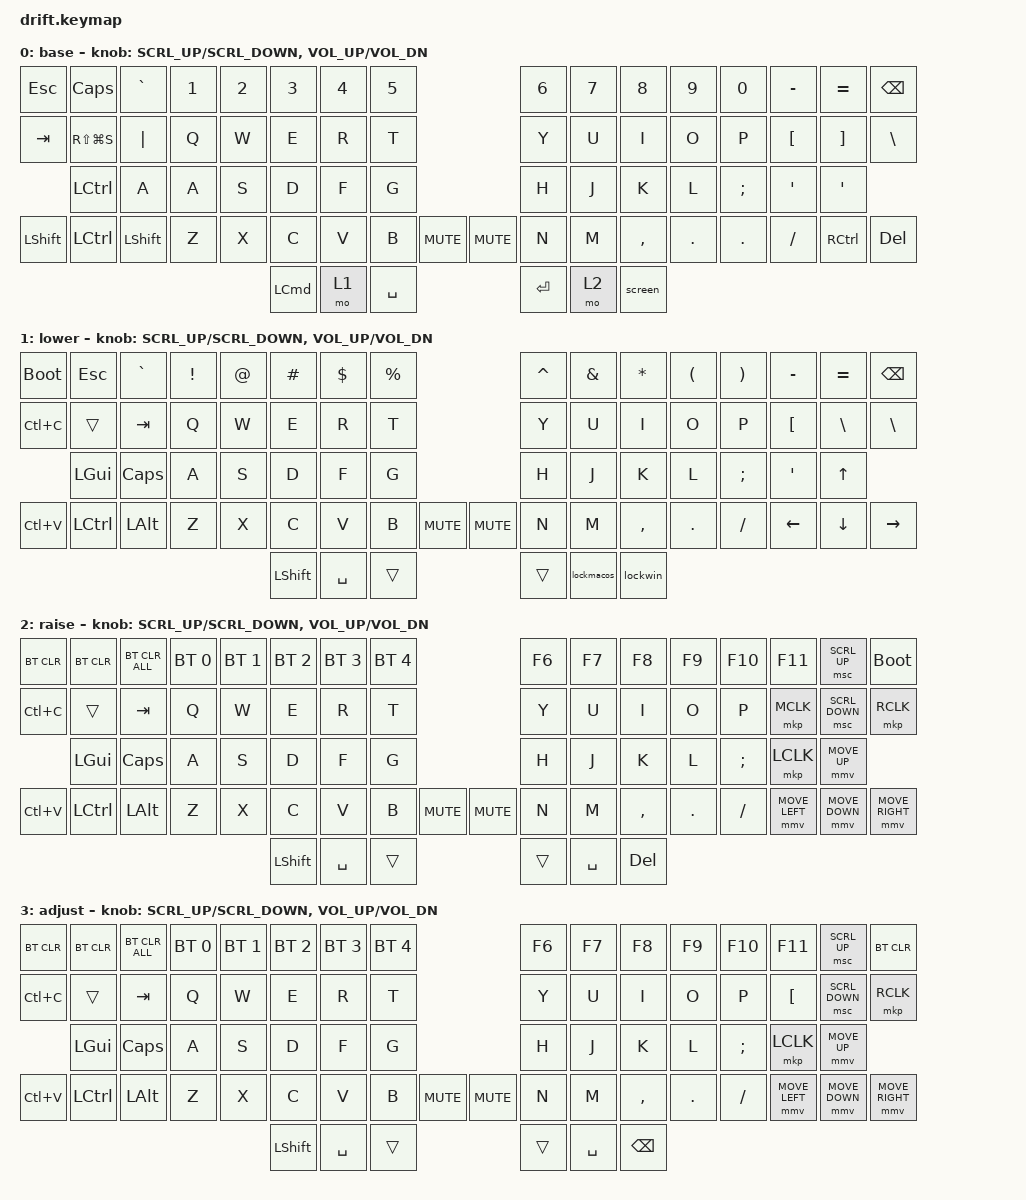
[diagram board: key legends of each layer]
// Copyright (c) 2025 Timception
// SPDX-License-Identifier: MIT

#define ZMK_POINTING_DEFAULT_MOVE_VAL 1500  // default: 600
#define ZMK_POINTING_DEFAULT_SCRL_VAL 120    // default: 10 - for encoder mouse-scroll to work

#include <dt-bindings/zmk/mouse.h>
#include <behaviors.dtsi>
#include <dt-bindings/zmk/bt.h>
#include <dt-bindings/zmk/keys.h>
#include <dt-bindings/zmk/pointing.h>

#define BASE 0
#define LOWER 1
#define RAISE 2
#define ADJUST 3

/ {
    conditional_layers {
        compatible = "zmk,conditional-layers";

        tri_layer {
            if-layers = <LOWER RAISE>;
            then-layer = <ADJUST>;
        };
    };

    behaviors {
        enc_scroll: enc_scroll {
            compatible = "zmk,behavior-sensor-rotate-var";
            #sensor-binding-cells = <2>;
            bindings = <&msc>, <&msc>;

            tap-ms = <20>;
        };
    };

    macros {
        lockwin: lockwin {
            compatible = "zmk,behavior-macro";
            #binding-cells = <0>;
            bindings = <&kp LG(L)>;
            label = "LOCKWIN";
        };

        lockmacos: lockmacos {
            compatible = "zmk,behavior-macro";
            #binding-cells = <0>;
            bindings = <&kt LC(LEFT_COMMAND) &kt Q &sys_reset>;
            label = "LOCKMACOS";
        };

        screen: screen {
            compatible = "zmk,behavior-macro";
            #binding-cells = <0>;
            bindings = <&kp PRINTSCREEN>;
            label = "SCREEN";
        };
    };

    keymap {
        compatible = "zmk,keymap";

        default_layer {
            display-name = "base";

            // ------------------------------------------------------------------------------------------------------------------------------------------
            // | ESC   | ESC    |   `   |  1  |  2  |   3   |   4   |   5   |                   |   6   |   7   |   8   |  9  |  0  |  -  |  =  | BKSPC |
            // | COPY  | SCRCAP | TAB   |  Q  |  W  |   E   |   R   |   T   |                   |   Y   |   U   |   I   |  O  |  P  |  [  |  ]  |   \   |
            //         | GUI    | CAPS  |  A  |  S  |   D   |   F   |   G   |                   |   H   |   J   |   K   |  L  |  ;  |  '  |ENTER|
            // | PASTE | CTRL   | SHIFT |  Z  |  X  |   C   |   V   |   B   |  MUTE  | |  MUTE  |   N   |   M   |   ,   |  .  |  /  | ALT |CTRL |  DEL  |
            //                                      | SHIFT | SPACE | LOWER |                   | RAISE | SPACE | BKSPC |

            bindings = <
&kp ESC         &kp CAPSLOCK      &kp GRAVE       &kp N1  &kp N2  &kp N3            &kp N4  &kp N5                             &kp N6     &kp N7  &kp N8     &kp N9   &kp N0    &kp MINUS  &kp EQUAL  &kp BSPC
&kp TAB         &kp RS(LG(S))     &kp PIPE        &kp Q   &kp W   &kp E             &kp R   &kp T                              &kp Y      &kp U   &kp I      &kp O    &kp P     &kp LBKT   &kp RBKT   &kp BSLH
                &kp LEFT_CONTROL  &kp A           &kp A   &kp S   &kp D             &kp F   &kp G                              &kp H      &kp J   &kp K      &kp L    &kp SEMI  &kp SQT    &kp SQT
&kp LEFT_SHIFT  &kp LCTRL         &kp LEFT_SHIFT  &kp Z   &kp X   &kp C             &kp V   &kp B      &kp C_MUTE  &kp C_MUTE  &kp N      &kp M   &kp COMMA  &kp DOT  &kp DOT   &kp SLASH  &kp RCTRL  &kp DEL
                                                                  &kp LEFT_COMMAND  &mo 1   &kp SPACE                          &kp ENTER  &mo 2   &screen
            >;

            sensor-bindings =
                <&enc_scroll SCRL_UP SCRL_DOWN>,
                <&inc_dec_kp C_VOL_UP C_VOL_DN>;
        };

        lower_layer {
            display-name = "lower";

            // --------------------------------------------------------------------------------------------------------------------------------------------
            // |BOOTLOADER| ESC    |   `   | F1 |  F2 |   F3  |   F4  |   F5  |                   |   F6  |   F7  |   F8  |  F9 | F10 |  F11 | F12  | BKSPC |
            // |  COPY    | SCRCAP | TAB   | Q  |  W  |   E   |   R   |   T   |                   |   Y   |   U   |   I   |  O  |  P  |   [  |  ]   |   \   |
            //            | GUI    | CAPS  | A  |  S  |   D   |   F   |   G   |                   |   H   |   J   |   K   |  L  |  ;  |   '  |  UP  |
            // |  PASTE   | CTRL   | SHIFT | Z  |  X  |   C   |   V   |   B   |  MUTE  | |  MUTE  |   N   |   M   |   ,   |  .  |  /  | LEFT | DOWN | RIGHT |
            //                                        | SHIFT | SPACE | LOWER |                   | RAISE | SPACE | BKSPC |

            bindings = <
&bootloader  &kp ESC    &kp GRAVE  &kp EXCL  &kp AT  &kp HASH   &kp DOLLAR  &kp PERCENT                          &kp CARET  &kp AMPERSAND  &kp ASTERISK  &kp LEFT_PARENTHESIS  &kp RIGHT_PARENTHESIS  &kp MINUS  &kp EQUAL      &kp BSPC
&kp LC(C)    &trans     &kp TAB    &kp Q     &kp W   &kp E      &kp R       &kp T                                &kp Y      &kp U          &kp I         &kp O                 &kp P                  &kp LBKT   &kp BACKSLASH  &kp BSLH
             &kp LGUI   &kp CAPS   &kp A     &kp S   &kp D      &kp F       &kp G                                &kp H      &kp J          &kp K         &kp L                 &kp SEMI               &kp SQT    &kp UP
&kp LC(V)    &kp LCTRL  &kp LALT   &kp Z     &kp X   &kp C      &kp V       &kp B        &kp C_MUTE  &kp C_MUTE  &kp N      &kp M          &kp COMMA     &kp DOT               &kp FSLH               &kp LEFT   &kp DOWN       &kp RIGHT
                                                     &kp LSHFT  &kp SPACE   &trans                               &trans     &lockmacos     &lockwin
            >;

            sensor-bindings =
                <&enc_scroll SCRL_UP SCRL_DOWN>,
                <&inc_dec_kp C_VOL_UP C_VOL_DN>;
        };

        raise_layer {
            display-name = "raise";

            // ----------------------------------------------------------------------------------------------------------------------------------------------
            // | CLEAR | CLEAR  | CLEAR ALL | BT1 |  BT2 |  BT3  |  BT4  |  BT5  |                   |   F6  |   F7  |   F8  |  F9 | F10 |  F11       |  SCROLL UP  |  BOOTLOADER |
            // | COPY  | SCRCAP | TAB       | Q   |  W   |   E   |   R   |   T   |                   |   Y   |   U   |   I   |  O  |  P  |   [        | SCROLL DOWN | RIGHT CLICK |
            //         | GUI    | CAPS      | A   |  S   |   D   |   F   |   G   |                   |   H   |   J   |   K   |  L  |  ;  | LEFT CLICK |   MOUSE UP  |
            // | PASTE | CTRL   | SHIFT     | Z   |  X   |   C   |   V   |   B   |  MUTE  | |  MUTE  |   N   |   M   |   ,   |  .  |  /  | MOUSE LEFT |  MOUSE DOWN | MOUSE RIGHT |
            //                                           | SHIFT | SPACE | LOWER |                   | RAISE | SPACE | BKSPC |

            bindings = <
&bt BT_CLR  &bt BT_CLR  &bt BT_CLR_ALL  &bt BT_SEL 0  &bt BT_SEL 1  &bt BT_SEL 2  &bt BT_SEL 3  &bt BT_SEL 4                          &kp F6  &kp F7     &kp F8     &kp F9   &kp F10   &kp F11         &msc SCRL_UP    &bootloader
&kp LC(C)   &trans      &kp TAB         &kp Q         &kp W         &kp E         &kp R         &kp T                                 &kp Y   &kp U      &kp I      &kp O    &kp P     &mkp MCLK       &msc SCRL_DOWN  &mkp RCLK
            &kp LGUI    &kp CAPS        &kp A         &kp S         &kp D         &kp F         &kp G                                 &kp H   &kp J      &kp K      &kp L    &kp SEMI  &mkp LCLK       &mmv MOVE_UP
&kp LC(V)   &kp LCTRL   &kp LALT        &kp Z         &kp X         &kp C         &kp V         &kp B         &kp C_MUTE  &kp C_MUTE  &kp N   &kp M      &kp COMMA  &kp DOT  &kp FSLH  &mmv MOVE_LEFT  &mmv MOVE_DOWN  &mmv MOVE_RIGHT
                                                                    &kp LSHFT     &kp SPACE     &trans                                &trans  &kp SPACE  &kp DEL
            >;

            sensor-bindings =
                <&enc_scroll SCRL_UP SCRL_DOWN>,
                <&inc_dec_kp C_VOL_UP C_VOL_DN>;
        };

        adjust_layer {
            // ----------------------------------------------------------------------------------------------------------------------------------------------
            // | CLEAR | CLEAR  | CLEAR ALL | BT1 |  BT2 |  BT3  |  BT4  |  BT5  |                   |   F6  |   F7  |   F8  |  F9 | F10 |  F11       |  SCROLL UP  |   CLEAR     |
            // | COPY  | SCRCAP | TAB       | Q   |  W   |   E   |   R   |   T   |                   |   Y   |   U   |   I   |  O  |  P  |   [        | SCROLL DOWN | RIGHT CLICK |
            //         | GUI    | CAPS      | A   |  S   |   D   |   F   |   G   |                   |   H   |   J   |   K   |  L  |  ;  | LEFT CLICK |   MOUSE UP  |
            // | PASTE | CTRL   | SHIFT     | Z   |  X   |   C   |   V   |   B   |  MUTE  | |  MUTE  |   N   |   M   |   ,   |  .  |  /  | MOUSE LEFT |  MOUSE DOWN | MOUSE RIGHT |
            //                                           | SHIFT | SPACE | LOWER |                   | RAISE | SPACE | BKSPC |

            display-name = "adjust";
            bindings = <
&bt BT_CLR  &bt BT_CLR  &bt BT_CLR_ALL  &bt BT_SEL 0  &bt BT_SEL 1  &bt BT_SEL 2  &bt BT_SEL 3  &bt BT_SEL 4                          &kp F6  &kp F7     &kp F8     &kp F9   &kp F10   &kp F11         &msc SCRL_UP    &bt BT_CLR
&kp LC(C)   &trans      &kp TAB         &kp Q         &kp W         &kp E         &kp R         &kp T                                 &kp Y   &kp U      &kp I      &kp O    &kp P     &kp LBKT        &msc SCRL_DOWN  &mkp RCLK
            &kp LGUI    &kp CAPS        &kp A         &kp S         &kp D         &kp F         &kp G                                 &kp H   &kp J      &kp K      &kp L    &kp SEMI  &mkp LCLK       &mmv MOVE_UP
&kp LC(V)   &kp LCTRL   &kp LALT        &kp Z         &kp X         &kp C         &kp V         &kp B         &kp C_MUTE  &kp C_MUTE  &kp N   &kp M      &kp COMMA  &kp DOT  &kp FSLH  &mmv MOVE_LEFT  &mmv MOVE_DOWN  &mmv MOVE_RIGHT
                                                                    &kp LSHFT     &kp SPACE     &trans                                &trans  &kp SPACE  &kp BSPC
            >;

            sensor-bindings =
                <&enc_scroll SCRL_UP SCRL_DOWN>,
                <&inc_dec_kp C_VOL_UP C_VOL_DN>;
        };
    };
};
